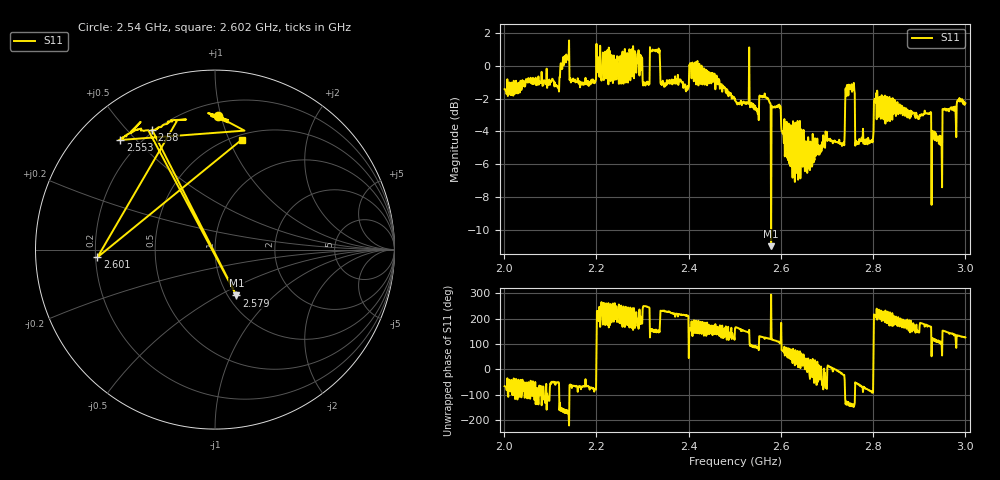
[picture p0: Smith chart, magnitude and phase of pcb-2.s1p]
# HZ S RI R 50
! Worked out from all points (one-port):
!   1009 points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, 2.001 GHz to 3 GHz, reference 50 ohm
!   lowest |S11| = -11.0 dB at 2.579 GHz (marker M1), VSWR 1.78, Z = 54.7 - j30.4 ohm
!   |S11| at or under -10 dB: 2.578676 GHz to 2.578907 GHz (231.4 kHz wide, 0.00897 % of centre)
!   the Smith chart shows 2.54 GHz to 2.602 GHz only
!   S11 on the Smith chart (normalised r, x): 2.54 GHz: 0.29, +0.98; 2.553 GHz: 0.13, +0.45; 2.579 GHz: 1.09, -0.61; 2.58 GHz: 0.19, +0.59; 2.601 GHz: 0.21, -0.03; 2.602 GHz: 0.55, +1.12
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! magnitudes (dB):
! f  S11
! 2.001 GHz  -1.4
! 2.114 GHz  -1.2
! 2.126 GHz  -0.2
! 2.251 GHz  0.3
! 2.294 GHz  0.7
! 2.31 GHz  -1.0
! 2.332 GHz  0.9
! 2.344 GHz  -0.9
! 2.376 GHz  -0.9
! 2.409 GHz  -0.6
! 2.5 GHz  -2.0
! 2.54 GHz  -2.6
! 2.553 GHz  -1.9
! 2.579 GHz  -11.0
! 2.58 GHz  -2.4
! 2.601 GHz  -3.7
! 2.602 GHz  -4.0
! 2.625 GHz  -6.8
! 2.732 GHz  -4.9
! 2.75 GHz  -1.3
! 2.766 GHz  -4.7
! 2.796 GHz  -4.7
! 2.807 GHz  -1.7
! 2.875 GHz  -2.7
! 2.921 GHz  -2.9
! 2.944 GHz  -4.3
! 2.955 GHz  -2.6
! 3 GHz  -2.3
